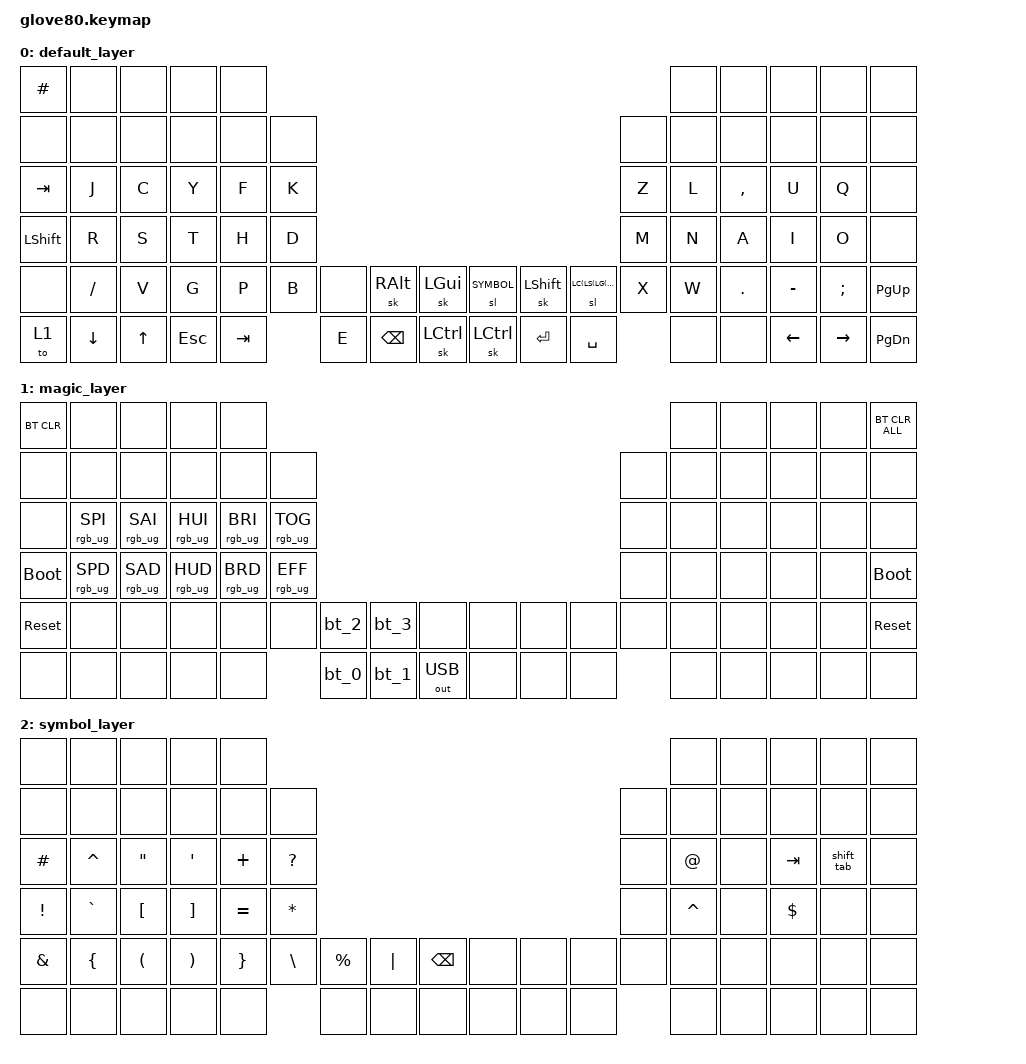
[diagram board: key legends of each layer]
/*
 * Copyright (c) 2020 The ZMK Contributors
 *
 * SPDX-License-Identifier: MIT
 */

#include <behaviors.dtsi>
#include <dt-bindings/zmk/keys.h>
#include <dt-bindings/zmk/bt.h>
#include <dt-bindings/zmk/ext_power.h>
#include <dt-bindings/zmk/outputs.h>
#include <dt-bindings/zmk/rgb.h>

&sk {
    release-after-ms = <900>;
    quick-release;
};

/ {
    behaviors {
        //////////////////////////////////
        // BEGIN DEFAULT MOERGO BEHAVIORS
        //////////////////////////////////
        
        // For the "layer" key, it'd nice to be able to use it as either a shift or a toggle.
        // Configure it as a tap dance, so the first tap (or hold) is a &mo and the second tap is a &to
        // layer_td: tap_dance_0 {
        //     compatible = "zmk,behavior-tap-dance";
        //     label = "LAYER_TAP_DANCE";
        //     #binding-cells = <0>;
        //     tapping-term-ms = <200>;
        //     bindings = <&mo LOWER>, <&to LOWER>;
        // };

        magic: magic_hold_tap {
            compatible = "zmk,behavior-hold-tap";
            label = "MAGIC_HOLD_TAP";
            #binding-cells = <2>;
            flavor = "tap-preferred";
            tapping-term-ms = <200>;
            bindings = <&mo>, <&rgb_ug_status_macro>;
        };
        ////////////////////////////////
        // END DEFAULT MOERGO BEHAVIORS
        ////////////////////////////////

        ublw: ublw {
            compatible = "zmk,behavior-macro";
            #binding-cells = <0>;
            wait-ms = <10>;
            tap-ms = <5>;
            bindings = <
              &kp LG(LA(LEFT))
            >;
        };

        ubrw: ubrw {
            compatible = "zmk,behavior-macro";
            #binding-cells = <0>;
            wait-ms = <10>;
            tap-ms = <5>;
            bindings = <
              &kp LG(LA(RIGHT))
            >;
        };

        // MACROS: Aerospace

        tw_y: tw_y {
            compatible = "zmk,behavior-macro";
            #binding-cells = <0>;
            wait-ms = <10>;
            tap-ms = <5>;
            bindings = <
                &kp LG(Y)
            >;
        };

        tw_u: tw_u {
            compatible = "zmk,behavior-macro";
            #binding-cells = <0>;
            wait-ms = <10>;
            tap-ms = <5>;
            bindings = <
                &kp LG(U)
            >;
        };

        tw_i: tw_i {
            compatible = "zmk,behavior-macro";
            #binding-cells = <0>;
            wait-ms = <10>;
            tap-ms = <5>;
            bindings = <
                &kp LG(I)
            >;
        };

        tw_o: tw_o {
            compatible = "zmk,behavior-macro";
            #binding-cells = <0>;
            wait-ms = <10>;
            tap-ms = <5>;
            bindings = <
                &kp LG(O)
            >;
        };

        tw_h: tw_h {
            compatible = "zmk,behavior-macro";
            #binding-cells = <0>;
            wait-ms = <10>;
            tap-ms = <5>;
            bindings = <
                &kp LG(H)
            >;
        };

        tw_j: tw_j {
            compatible = "zmk,behavior-macro";
            #binding-cells = <0>;
            wait-ms = <10>;
            tap-ms = <5>;
            bindings = <
                &kp LG(J)
            >;
        };

        tw_k: tw_k {
            compatible = "zmk,behavior-macro";
            #binding-cells = <0>;
            wait-ms = <10>;
            tap-ms = <5>;
            bindings = <
                &kp LG(K)
            >;
        };

        tw_l: tw_l {
            compatible = "zmk,behavior-macro";
            #binding-cells = <0>;
            wait-ms = <10>;
            tap-ms = <5>;
            bindings = <
                &kp LG(L)
            >;
        };

        tw_n: tw_n {
            compatible = "zmk,behavior-macro";
            #binding-cells = <0>;
            wait-ms = <10>;
            tap-ms = <5>;
            bindings = <
                &kp LG(N)
            >;
        };

        tw_m: tw_m {
            compatible = "zmk,behavior-macro";
            #binding-cells = <0>;
            wait-ms = <10>;
            tap-ms = <5>;
            bindings = <
                &kp LG(M)
            >;
        };

        tw_comma: tw_comma {
            compatible = "zmk,behavior-macro";
            #binding-cells = <0>;
            wait-ms = <10>;
            tap-ms = <5>;
            bindings = <
                &kp LG(COMMA)
            >;
        };

        tw_dot: tw_dot {
            compatible = "zmk,behavior-macro";
            #binding-cells = <0>;
            wait-ms = <10>;
            tap-ms = <5>;
            bindings = <
                &kp LG(DOT)
            >;
        };

        // MACROS: Basic

        sret: sret {
            compatible = "zmk,behavior-macro";
            #binding-cells = <0>;
            wait-ms = <10>;
            tap-ms = <5>;
            bindings = <&kp LS(RET)>;
        };

        copy_cut: copy_cut {
            compatible = "zmk,behavior-tap-dance";
            #binding-cells = <0>;
            tapping-term-ms = <200>;
            bindings = <&kp LC(C)>, <&kp LC(C) &kp BSPC>;
        };

        paste: paste {
            compatible = "zmk,behavior-macro";
            #binding-cells = <0>;
            wait-ms = <10>;
            tap-ms = <5>;
            bindings = <&kp LC(LS(V))>;
        };              

        sall: sall {
            compatible = "zmk,behavior-macro";
            #binding-cells = <0>;
            wait-ms = <10>;
            tap-ms = <5>;
            bindings = <&kp LC(A)>;
        };              

        p_tmux: p_tmux {
            compatible = "zmk,behavior-macro";
            #binding-cells = <0>;
            wait-ms = <10>;
            tap-ms = <5>;
            bindings = <&kp LC(A) &kp P>;
        };

        n_tmux: n_tmux {
            compatible = "zmk,behavior-macro";
            #binding-cells = <0>;
            wait-ms = <30>;
            tap-ms = <5>;
            bindings = <&kp LC(A) &kp N>;
        };

        s_tmux: s_tmux {
            compatible = "zmk,behavior-macro";
            #binding-cells = <0>;
            wait-ms = <10>;
            tap-ms = <5>;
            bindings = <&kp LC(A) &kp S>;
        };

        l_tmux: l_tmux {
            compatible = "zmk,behavior-macro";
            #binding-cells = <0>;
            wait-ms = <10>;
            tap-ms = <5>;
            bindings = <&kp LC(A) &kp L>;
        };

        o_tab:  o_tab {
            compatible = "zmk,behavior-macro";
            #binding-cells = <0>;
            wait-ms = <10>;
            tap-ms = <5>;
            bindings = <&kp LC(T)>;
        };

        c_tab:  c_tab {
            compatible = "zmk,behavior-macro";
            #binding-cells = <0>;
            wait-ms = <10>;
            tap-ms = <5>;
            bindings = <&kp LC(W)>;
        };

        r_tab:  r_tab {
            compatible = "zmk,behavior-macro";
            #binding-cells = <0>;
            wait-ms = <10>;
            tap-ms = <5>;
            bindings = <&kp LC(R)>;
        };

        uc_tab:  uc_tab {
            compatible = "zmk,behavior-macro";
            #binding-cells = <0>;
            wait-ms = <10>;
            tap-ms = <5>;
            bindings = <&kp LC(LS(T))>;
        };

        zen_tp:  zen_tp {
            compatible = "zmk,behavior-macro";
            #binding-cells = <0>;
            wait-ms = <10>;
            tap-ms = <5>;
            bindings = <&kp LC(LS(TAB))>;
        };

        zen_tn: zen_tn {
            compatible = "zmk,behavior-macro";
            #binding-cells = <0>;
            wait-ms = <10>;
            tap-ms = <5>;
            bindings = <&kp LC(TAB)>;
        };

        zen_wp: zen_wp {
            compatible = "zmk,behavior-macro";
            #binding-cells = <0>;
            wait-ms = <10>;
            tap-ms = <5>;
            bindings = <&kp LC(LS(LA(TAB)))>;
        };

        zen_wn: zen_wn {
            compatible = "zmk,behavior-macro";
            #binding-cells = <0>;
            wait-ms = <10>;
            tap-ms = <5>;
            bindings = <&kp LC(LA(TAB))>;
        };

        shift_tab: shift_tab {
            compatible = "zmk,behavior-macro";
            #binding-cells = <0>;
            wait-ms = <10>;
            tap-ms = <5>;
            bindings = <&kp LS(TAB)>;
        }; 

        p_page: p_page {
            compatible = "zmk,behavior-macro";
            #binding-cells = <0>;
            wait-ms = <10>;
            tap-ms = <5>;
            bindings = <&kp LA(LEFT)>;
        };

        n_page: n_page {
            compatible = "zmk,behavior-macro";
            #binding-cells = <0>;
            wait-ms = <10>;
            tap-ms = <5>;
            bindings = <&kp LA(RIGHT)>;
        };

        o_ray: o_ray {
            compatible = "zmk,behavior-macro";
            #binding-cells = <0>;
            wait-ms = <10>;
            tap-ms = <5>;
            bindings = <&kp LG(D)>;
        };

        o_clip: o_clip {
            compatible = "zmk,behavior-macro";
            #binding-cells = <0>;
            wait-ms = <10>;
            tap-ms = <5>;
            bindings = <&kp LG(C)>;
        };

        o_emoji: o_emoji {
            compatible = "zmk,behavior-macro";
            #binding-cells = <0>;
            wait-ms = <10>;
            tap-ms = <5>;
            bindings = <&kp LG(E)>;
        };

        scss: scss {
            compatible = "zmk,behavior-macro";
            #binding-cells = <0>;
            wait-ms = <10>;
            tap-ms = <5>;
            bindings = <&kp LG(LS(N4))>;
        };

        scs: scs {
            compatible = "zmk,behavior-macro";
            #binding-cells = <0>;
            wait-ms = <10>;
            tap-ms = <5>;
            bindings = <&kp LG(LS(N3))>;
        };

        aero_s: aero_s {
            compatible = "zmk,behavior-macro";
            #binding-cells = <0>;
            wait-ms = <10>;
            tap-ms = <5>;
            bindings = <&kp LA(FSLH)>;
        };

        aero_m: aero_m {
            compatible = "zmk,behavior-macro";
            #binding-cells = <0>;
            wait-ms = <10>;
            tap-ms = <5>;
            bindings = <&kp LA(DOT)>;
        };

        md_code: md_code {
          compatible = "zmk,behavior-macro";
          #binding-cells = <0>;
          wait-ms = <14>;
          tap-ms = <5>;
          bindings = <
              &kp LS(ENTER)
              &kp GRAVE
              &kp GRAVE
              &kp GRAVE
              &kp LS(ENTER)
              &kp LC(V)
              &kp DOWN
              &kp LS(ENTER)
              &kp GRAVE
              &kp GRAVE
              &kp GRAVE
              &kp LS(ENTER)
          >;
        };

        codebite: codebite {
          compatible = "zmk,behavior-macro";
          #binding-cells = <0>;
          wait-ms = <14>;
          tap-ms = <5>;
          bindings = <
              &kp GRAVE
              &kp LC(V)
              &kp GRAVE
              &kp SPACE
          >;
        };

        caps_word {
            compatible = "zmk,behavior-caps-word";
            #binding-cells = <0>;
            continue-list = <
                UNDERSCORE
                MINUS
                N1 N2 N3 N4 N5 N6 N7 N8 N9 N0
                BSPC DEL
                LEFT RIGHT UP DOWN
            >;
        };

        kp_ea: kp_ea {
            compatible = "zmk,behavior-macro";
            #binding-cells = <0>;
            wait-ms = <10>;
            tap-ms = <5>;
            bindings = <&kp E &kp A>;
        };

        kp_sc: kp_sc {
            compatible = "zmk,behavior-macro";
            #binding-cells = <0>;
            wait-ms = <10>;
            tap-ms = <5>;
            bindings = <&kp S &kp C>;
        };

        ctrl_min: ctrl_min {
            compatible = "zmk,behavior-macro";
            #binding-cells = <0>;
            wait-ms = <10>;
            tap-ms = <5>;
            bindings = <&kp LC(MINUS)>;
        };

        ctrl_plus: ctrl_plus {
            compatible = "zmk,behavior-macro";
            #binding-cells = <0>;
            wait-ms = <10>;
            tap-ms = <5>;
            bindings = <&kp LC(PLUS)>;
        };


        // HOLD TAPS
        ///////////////

        htap: htap {
            compatible = "zmk,behavior-hold-tap";
            #binding-cells = <2>;
            flavor = "tap-preferred";
            tapping-term-ms = <180>;
            bindings = <&mo>, <&kp>;
        };

        ht_kp: ht_kp {
            compatible = "zmk,behavior-hold-tap";
            #binding-cells = <2>;
            flavor = "hold-preferred";
            tapping-term-ms = <180>;
            bindings = <&kp>, <&kp>;
        };

        ht_kp2: ht_kp2 {
            compatible = "zmk,behavior-hold-tap";
            #binding-cells = <2>;
            flavor = "hold-preferred";
            tapping-term-ms = <180>;
            bindings = <&kp>, <&kp>;
            hold-trigger-key-positions = <0 1 2 3 4 5 6 7 8 9 10 11 12 13 15 16 17 18 19 20 21 22 23 24 25 26 27 28 29 31 32 33 34 35 36 37 38 39 40 41 42 43 44 45>;
        };

        ht_sk: ht_sk {
            compatible = "zmk,behavior-hold-tap";
            #binding-cells = <2>;
            flavor = "tap-preferred";
            tapping-term-ms = <180>;
            bindings = <&mo>, <&sk>;
        };
    };

    macros {
        ///////////////////////////////
        // BEGIN DEFAULT MOERGO MACROS
        ///////////////////////////////
        
        rgb_ug_status_macro: rgb_ug_status_macro_0 {
            label = "RGB_UG_STATUS";
            compatible = "zmk,behavior-macro";
            #binding-cells = <0>;
            bindings
                = <&rgb_ug RGB_STATUS>;
        };

        bt_0: bt_profile_macro_0 {
            label = "BT_0";
            compatible = "zmk,behavior-macro";
            #binding-cells = <0>;
            bindings
                = <&out OUT_BLE>,
                  <&bt BT_SEL 0>;
        };

        bt_1: bt_profile_macro_1 {
            label = "BT_1";
            compatible = "zmk,behavior-macro";
            #binding-cells = <0>;
            bindings
                = <&out OUT_BLE>,
                  <&bt BT_SEL 1>;
        };

        bt_2: bt_profile_macro_2 {
            label = "BT_2";
            compatible = "zmk,behavior-macro";
            #binding-cells = <0>;
            bindings
                = <&out OUT_BLE>,
                  <&bt BT_SEL 2>;
        };

        bt_3: bt_profile_macro_3 {
            label = "BT_3";
            compatible = "zmk,behavior-macro";
            #binding-cells = <0>;
            bindings
                = <&out OUT_BLE>,
                  <&bt BT_SEL 3>;
        };

        /////////////////////////////
        // END DEFAULT MOERGO MACROS
        /////////////////////////////
    };
};


/ {
    combos {
        compatible = "zmk,combos";
        vg {
            timeout-ms = <100>;
            key-positions = <30 31>;
            layers = <0>;
            bindings = <&mo 4>;
        };
        slv {
            timeout-ms = <100>;
            key-positions = <29 30>;
            layers = <0>;
            bindings = <&mo 2>;
        };
        ctrlshft {
            timeout-ms = <100>;
            key-positions = <14 29>;
            layers = <0>;
            bindings = <&kp LSHFT &kp LCTRL>;
        };
    };
};


#define HYPER LC(LS(LG(LALT)))
#define XXX &none

#define ALPHA 0
#define MAGIC 1
#define SYMBOL 2
#define WORK 3
#define NUM 4

#define ht_suse     &ht_kp LGUI SEMI
#define ht_5sh      &ht_sk 5 LSHFT
#define ht_ctsl     &ht_kp2 LCTRL FSLH

#define vold        &kp C_VOLUME_DOWN
#define volu        &kp C_VOLUME_UP
#define volm        &kp C_MUTE
#define playpause   &kp LG(P)

#define ctrlsha     &kp F13
#define sfinder     &kp F14
#define brid        &kp F18
#define briu        &kp F19

#define play_p        &kp C_PREV
#define play_n        &kp C_NEXT

/ {
    keymap {
        compatible = "zmk,keymap";

        default_layer {
            bindings = <
            //╭─────────────┬─────────────┬─────────────┬─────────────┬─────────────╮                                                                                                                  ╭─────────────┬─────────────┬─────────────┬─────────────┬─────────────╮
               &kp HASH      XXX           XXX           XXX           XXX                                                                                                                              XXX           XXX           XXX           XXX           XXX
            //├─────────────┼─────────────┼─────────────┼─────────────┼─────────────┼─────────────╮                                                                                      ╭─────────────┼─────────────┼─────────────┼─────────────┼─────────────┼─────────────┤
               XXX           XXX           XXX           XXX           XXX           XXX                                                                                                  XXX           XXX           XXX           XXX           XXX           XXX
            //├─────────────┼─────────────┼─────────────┼─────────────┼─────────────┼─────────────┤                                                                                      ├─────────────┼─────────────┼─────────────┼─────────────┼─────────────┼─────────────┤
               &kp TAB       &kp J         &kp C         &kp Y         &kp F         &kp K                                                                                                &kp Z         &kp L         &kp COMMA     &kp U         &kp Q         XXX
            //├─────────────┼─────────────┼─────────────┼─────────────┼─────────────┼─────────────┤                                                                                      ├─────────────┼─────────────┼─────────────┼─────────────┼─────────────┼─────────────┤
               &kp LSHIFT    &kp R         &kp S         &kp T         &kp H         &kp D                                                                                                &kp M         &kp N         &kp A         &kp I         &kp O         XXX   
            //├─────────────┼─────────────┼─────────────┼─────────────┼─────────────┼─────────────┤╭─────────────┬─────────────┬─────────────╮╭─────────────┬─────────────┬─────────────╮├─────────────┼─────────────┼─────────────┼─────────────┼─────────────┼─────────────┤
               XXX           &kp FSLH      &kp V         &kp G         &kp P         &kp B          XXX           &sk RALT      &sk LGUI       &sl SYMBOL    &sk LSHFT     &sl HYPER      &kp X         &kp W         &kp DOT       &kp MINUS     &kp SEMI      &kp PG_UP
            //├─────────────┼─────────────┼─────────────┼─────────────┼─────────────┼─────────────╯├─────────────┼─────────────┼─────────────┤├─────────────┼─────────────┼─────────────┤╰─────────────┼─────────────┼─────────────┼─────────────┼─────────────┼─────────────┤
               &to 1         &kp DOWN      &kp UP        &kp ESC       &kp TAB                      &kp E         &kp BSPC      &sk LCTRL      &sk LCTRL     &kp RET       &kp SPACE                    XXX           XXX           &kp LEFT      &kp RIGHT     &kp PG_DN
            //╰─────────────┴─────────────┴─────────────┴─────────────┴─────────────╯              ╰─────────────┴─────────────┴─────────────╯╰─────────────┴─────────────┴─────────────╯              ╰─────────────┴─────────────┴─────────────┴─────────────┴─────────────╯
            >;
        };

        magic_layer {
            bindings = <
            //╭─────────────┬─────────────┬─────────────┬─────────────┬─────────────╮                                                                                                                  ╭─────────────┬─────────────┬─────────────┬─────────────┬─────────────╮
               &bt BT_CLR    &none         &none         &none         &none                                                                                                                            &none         &none         &none         &none         &bt BT_CLR_ALL
            //├─────────────┼─────────────┼─────────────┼─────────────┼─────────────┼─────────────╮                                                                                      ╭─────────────┼─────────────┼─────────────┼─────────────┼─────────────┼─────────────┤
               &none         &none         &none         &none         &none         &none                                                                                                &none         &none         &none         &none         &none         &none
            //├─────────────┼─────────────┼─────────────┼─────────────┼─────────────┼─────────────┤                                                                                      ├─────────────┼─────────────┼─────────────┼─────────────┼─────────────┼─────────────┤
               &none         &rgb_ug RGB_SPI &rgb_ug RGB_SAI &rgb_ug RGB_HUI &rgb_ug RGB_BRI &rgb_ug RGB_TOG                                                                              &none         &none         &none         &none         &none         &none
            //├─────────────┼─────────────┼─────────────┼─────────────┼─────────────┼─────────────┤                                                                                      ├─────────────┼─────────────┼─────────────┼─────────────┼─────────────┼─────────────┤
               &bootloader   &rgb_ug RGB_SPD &rgb_ug RGB_SAD &rgb_ug RGB_HUD &rgb_ug RGB_BRD &rgb_ug RGB_EFF                                                                              &none         &none         &none         &none         &none         &bootloader
            //├─────────────┼─────────────┼─────────────┼─────────────┼─────────────┼─────────────┤╭─────────────┬─────────────┬─────────────╮╭─────────────┬─────────────┬─────────────╮├─────────────┼─────────────┼─────────────┼─────────────┼─────────────┼─────────────┤
               &sys_reset    &none         &none         &none         &none         &none          &bt_2         &bt_3         &none          &none         &none         &none          &none         &none         &none         &none         &none         &sys_reset
            //├─────────────┼─────────────┼─────────────┼─────────────┼─────────────┼─────────────╯├─────────────┼─────────────┼─────────────┤├─────────────┼─────────────┼─────────────┤╰─────────────┼─────────────┼─────────────┼─────────────┼─────────────┼─────────────┤
               &none         &none         &none         &none         &none                        &bt_0         &bt_1         &out OUT_USB   &none         &none         &none                        &none         &none         &none         &none         &none
            //╰─────────────┴─────────────┴─────────────┴─────────────┴─────────────╯              ╰─────────────┴─────────────┴─────────────╯╰─────────────┴─────────────┴─────────────╯              ╰─────────────┴─────────────┴─────────────┴─────────────┴─────────────╯
            >;
        };

        symbol_layer {
            bindings = <
            //╭─────────────┬─────────────┬─────────────┬─────────────┬─────────────╮                                                                                                                  ╭─────────────┬─────────────┬─────────────┬─────────────┬─────────────╮
               XXX           XXX           XXX           XXX           XXX                                                                                                                              XXX           XXX           XXX           XXX           XXX  
            //├─────────────┼─────────────┼─────────────┼─────────────┼─────────────┼─────────────╮                                                                                      ╭─────────────┼─────────────┼─────────────┼─────────────┼─────────────┼─────────────┤
               XXX           XXX           XXX           XXX           XXX           XXX                                                                                                  XXX           XXX           XXX           XXX           XXX           XXX  
            //├─────────────┼─────────────┼─────────────┼─────────────┼─────────────┼─────────────┤                                                                                      ├─────────────┼─────────────┼─────────────┼─────────────┼─────────────┼─────────────┤
               &kp HASH      &kp CARET     &kp DQT       &kp SQT       &kp PLUS      &kp QMARK                                                                                            XXX           &kp AT        XXX           &kp TAB       &shift_tab    XXX                         
            //├─────────────┼─────────────┼─────────────┼─────────────┼─────────────┼─────────────┤                                                                                      ├─────────────┼─────────────┼─────────────┼─────────────┼─────────────┼─────────────┤
                &kp EXCL      &kp GRAVE     &kp LBKT      &kp RBKT      &kp EQUAL     &kp STAR                                                                                            XXX           &kp CARET     XXX           &kp DLLR      XXX           XXX
            //├─────────────┼─────────────┼─────────────┼─────────────┼─────────────┼─────────────┤╭─────────────┬─────────────┬─────────────╮╭─────────────┬─────────────┬─────────────╮├─────────────┼─────────────┼─────────────┼─────────────┼─────────────┼─────────────┤
               &kp AMPS      &kp LBRC      &kp LPAR      &kp RPAR      &kp RBRC      &kp BSLH       &kp PRCNT     &kp PIPE      &kp BSPC       XXX           XXX           XXX            XXX           XXX           XXX           XXX           XXX           XXX           
            //├─────────────┼─────────────┼─────────────┼─────────────┼─────────────┼─────────────╯├─────────────┼─────────────┼─────────────┤├─────────────┼─────────────┼─────────────┤╰─────────────┼─────────────┼─────────────┼─────────────┼─────────────┼─────────────┤
               XXX           XXX           XXX           XXX           XXX                          XXX           XXX           XXX            XXX           XXX           XXX                          XXX           XXX           XXX           XXX           XXX
            //╰─────────────┴─────────────┴─────────────┴─────────────┴─────────────╯              ╰─────────────┴─────────────┴─────────────╯╰─────────────┴─────────────┴─────────────╯              ╰─────────────┴─────────────┴─────────────┴─────────────┴─────────────╯
            >;
        };
    };
};
